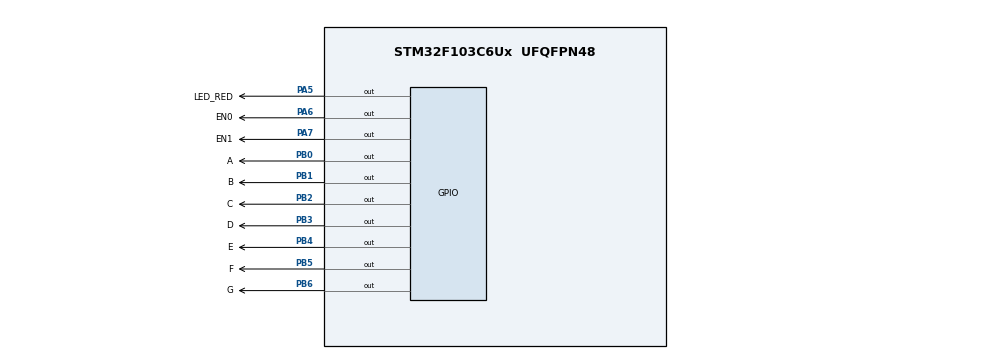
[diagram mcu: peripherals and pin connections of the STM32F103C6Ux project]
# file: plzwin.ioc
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Mcu.Family=STM32F1
Mcu.Name=STM32F103C6Ux
Mcu.Package=UFQFPN48
NVIC.PriorityGroup=NVIC_PRIORITYGROUP_4
NVIC.TIM2_IRQn=true\:0\:0\:false\:false\:true\:true\:true
PA5.GPIO_Label=LED_RED
PA5.Signal=GPIO_Output
PA6.GPIO_Label=EN0
PA6.Signal=GPIO_Output
PA7.GPIO_Label=EN1
PA7.Signal=GPIO_Output
PB0.GPIO_Label=A
PB0.Signal=GPIO_Output
PB1.GPIO_Label=B
PB1.Signal=GPIO_Output
PB2.GPIO_Label=C
PB2.Signal=GPIO_Output
PB3.GPIO_Label=D
PB3.Signal=GPIO_Output
PB4.GPIO_Label=E
PB4.Signal=GPIO_Output
PB5.GPIO_Label=F
PB5.Signal=GPIO_Output
PB6.GPIO_Label=G
PB6.Signal=GPIO_Output
ProjectManager.HeapSize=0x200
ProjectManager.StackSize=0x400
ProjectManager.TargetToolchain=STM32CubeIDE
RCC.APB1Freq_Value=8000000
RCC.APB2Freq_Value=8000000
TIM2.Period=9
TIM2.Prescaler=7999
VP_SYS_VS_ND.Mode=No_Debug
VP_TIM2_VS_ClockSourceINT.Mode=Internal
board=custom

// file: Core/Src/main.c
/* USER CODE BEGIN Header */
/**
  ******************************************************************************
  * @file           : main.c
  * @brief          : Main program body
  ******************************************************************************
  * @attention
  *
  * <h2><center>&copy; Copyright (c) 2022 STMicroelectronics.
  * All rights reserved.</center></h2>
  *
  * This software component is licensed by ST under BSD 3-Clause license,
  * the "License"; You may not use this file except in compliance with the
  * License. You may obtain a copy of the License at:
  *                        opensource.org/licenses/BSD-3-Clause
  *
  ******************************************************************************
  */
/* USER CODE END Header */
#include "main.h"

/* USER CODE BEGIN Includes */
#include "lab_2.h"
/* USER CODE END Includes */

TIM_HandleTypeDef htim2;

void SystemClock_Config(void);
static void MX_GPIO_Init(void);
static void MX_TIM2_Init(void);

int main(void)
{

  /* MCU Configuration--------------------------------------------------------*/

  /* Reset of all peripherals, Initializes the Flash interface and the Systick. */
  HAL_Init();

  /* Configure the system clock */
  SystemClock_Config();

  /* Initialize all configured peripherals */
  MX_GPIO_Init();
  MX_TIM2_Init();
  /* USER CODE BEGIN 2 */
HAL_TIM_Base_Start_IT(&htim2);
  /* USER CODE END 2 */

  /* Infinite loop */
  /* USER CODE BEGIN WHILE */
void display7SEG(int num){
if (num == 0)
	  {
		  HAL_GPIO_WritePin(GPIOB, A_Pin|B_Pin|C_Pin|D_Pin|E_Pin|F_Pin, GPIO_PIN_RESET);
		  HAL_GPIO_WritePin(GPIOB, G_Pin, GPIO_PIN_SET);
	  }
	  else if (num == 1)
	  {
		  HAL_GPIO_WritePin(GPIOB, B_Pin|C_Pin, GPIO_PIN_RESET);
		  HAL_GPIO_WritePin(GPIOB, A_Pin|D_Pin |E_Pin|F_Pin|G_Pin, GPIO_PIN_SET);
	  }
	  else if (num == 2)
	  {
		  HAL_GPIO_WritePin(GPIOB, A_Pin|B_Pin|D_Pin|E_Pin|G_Pin, GPIO_PIN_RESET);
		  		  HAL_GPIO_WritePin(GPIOB, C_Pin|F_Pin, GPIO_PIN_SET);
	  }
	  else if (num == 3)
	  {
		  HAL_GPIO_WritePin(GPIOB, A_Pin|B_Pin|C_Pin|D_Pin|G_Pin, GPIO_PIN_RESET);
		  		  HAL_GPIO_WritePin(GPIOB, E_Pin|F_Pin, GPIO_PIN_SET);
	  }
	  else if (num == 4)
	  {
		  HAL_GPIO_WritePin(GPIOB, B_Pin|C_Pin|F_Pin|G_Pin, GPIO_PIN_RESET);
		  HAL_GPIO_WritePin(GPIOB, E_Pin|A_Pin|D_Pin, GPIO_PIN_SET);
	  }
	  else if (num == 5)
	  {
		  HAL_GPIO_WritePin(GPIOB, A_Pin|C_Pin|F_Pin|D_Pin|G_Pin, GPIO_PIN_RESET);
		  		  HAL_GPIO_WritePin(GPIOB, E_Pin|B_Pin, GPIO_PIN_SET);
	  }
	  else if (num == 6)
	  {
		  HAL_GPIO_WritePin(GPIOB, A_Pin|C_Pin|F_Pin|E_Pin|D_Pin|G_Pin, GPIO_PIN_RESET);
		  		  		  HAL_GPIO_WritePin(GPIOB, B_Pin, GPIO_PIN_SET);
	  }
	  else if (num == 7)
	  {
		  HAL_GPIO_WritePin(GPIOB, A_Pin|B_Pin|C_Pin, GPIO_PIN_RESET);
		  		  HAL_GPIO_WritePin(GPIOB, D_Pin|E_Pin|F_Pin|G_Pin, GPIO_PIN_SET);
	  }
	  else if (num == 8)
	  {
		  HAL_GPIO_WritePin(GPIOB, A_Pin|B_Pin|C_Pin|D_Pin|E_Pin|F_Pin|G_Pin, GPIO_PIN_RESET);
	  }
	  else if (num == 9)
	  {
		  HAL_GPIO_WritePin(GPIOB, A_Pin|B_Pin|C_Pin|D_Pin
		                            |F_Pin|G_Pin, GPIO_PIN_RESET);
		  HAL_GPIO_WritePin(GPIOB,
		                            E_Pin, GPIO_PIN_SET);
	  }
}

Settimer1(50);
int num = 2 ;
HAL_GPIO_WritePin(EN0_GPIO_Port,EN0_Pin,GPIO_PIN_RESET);
HAL_GPIO_WritePin(EN1_GPIO_Port,EN1_Pin,GPIO_PIN_SET);
  while (1)
  {
    /* USER CODE END WHILE */
if (Timer1_flag == 1){
	Settimer1(50);
	if (num == 1 ) {display7SEG(1);num = num +1;}
	else if (num == 2)
	{
		display7SEG(2);
		num = num -1;
	}
	HAL_GPIO_TogglePin(EN0_GPIO_Port, EN0_Pin);
	HAL_GPIO_TogglePin(EN1_GPIO_Port, EN1_Pin);

}
  }
}

void SystemClock_Config(void)
{
  RCC_OscInitTypeDef RCC_OscInitStruct = {0};
  RCC_ClkInitTypeDef RCC_ClkInitStruct = {0};

  /** Initializes the RCC Oscillators according to the specified parameters
  * in the RCC_OscInitTypeDef structure.
  */
  RCC_OscInitStruct.OscillatorType = RCC_OSCILLATORTYPE_HSI;
  RCC_OscInitStruct.HSIState = RCC_HSI_ON;
  RCC_OscInitStruct.HSICalibrationValue = RCC_HSICALIBRATION_DEFAULT;
  RCC_OscInitStruct.PLL.PLLState = RCC_PLL_NONE;
  if (HAL_RCC_OscConfig(&RCC_OscInitStruct) != HAL_OK)
  {
    Error_Handler();
  }
  /** Initializes the CPU, AHB and APB buses clocks
  */
  RCC_ClkInitStruct.ClockType = RCC_CLOCKTYPE_HCLK|RCC_CLOCKTYPE_SYSCLK
                              |RCC_CLOCKTYPE_PCLK1|RCC_CLOCKTYPE_PCLK2;
  RCC_ClkInitStruct.SYSCLKSource = RCC_SYSCLKSOURCE_HSI;
  RCC_ClkInitStruct.AHBCLKDivider = RCC_SYSCLK_DIV1;
  RCC_ClkInitStruct.APB1CLKDivider = RCC_HCLK_DIV1;
  RCC_ClkInitStruct.APB2CLKDivider = RCC_HCLK_DIV1;

  if (HAL_RCC_ClockConfig(&RCC_ClkInitStruct, FLASH_LATENCY_0) != HAL_OK)
  {
    Error_Handler();
  }
}

static void MX_TIM2_Init(void)
{

  TIM_ClockConfigTypeDef sClockSourceConfig = {0};
  TIM_MasterConfigTypeDef sMasterConfig = {0};

  htim2.Instance = TIM2;
  htim2.Init.Prescaler = 7999;
  htim2.Init.CounterMode = TIM_COUNTERMODE_UP;
  htim2.Init.Period = 9;
  htim2.Init.ClockDivision = TIM_CLOCKDIVISION_DIV1;
  htim2.Init.AutoReloadPreload = TIM_AUTORELOAD_PRELOAD_DISABLE;
  if (HAL_TIM_Base_Init(&htim2) != HAL_OK)
  {
    Error_Handler();
  }
  sClockSourceConfig.ClockSource = TIM_CLOCKSOURCE_INTERNAL;
  if (HAL_TIM_ConfigClockSource(&htim2, &sClockSourceConfig) != HAL_OK)
  {
    Error_Handler();
  }
  sMasterConfig.MasterOutputTrigger = TIM_TRGO_RESET;
  sMasterConfig.MasterSlaveMode = TIM_MASTERSLAVEMODE_DISABLE;
  if (HAL_TIMEx_MasterConfigSynchronization(&htim2, &sMasterConfig) != HAL_OK)
  {
    Error_Handler();
  }

}

static void MX_GPIO_Init(void)
{
  GPIO_InitTypeDef GPIO_InitStruct = {0};

  /* GPIO Ports Clock Enable */
  __HAL_RCC_GPIOA_CLK_ENABLE();
  __HAL_RCC_GPIOB_CLK_ENABLE();

  /*Configure GPIO pin Output Level */
  HAL_GPIO_WritePin(GPIOA, LED_RED_Pin|EN0_Pin|EN1_Pin, GPIO_PIN_RESET);

  /*Configure GPIO pin Output Level */
  HAL_GPIO_WritePin(GPIOB, A_Pin|B_Pin|C_Pin|D_Pin
                          |E_Pin|F_Pin|G_Pin, GPIO_PIN_RESET);

  /*Configure GPIO pins : LED_RED_Pin EN0_Pin EN1_Pin */
  GPIO_InitStruct.Pin = LED_RED_Pin|EN0_Pin|EN1_Pin;
  GPIO_InitStruct.Mode = GPIO_MODE_OUTPUT_PP;
  GPIO_InitStruct.Pull = GPIO_NOPULL;
  GPIO_InitStruct.Speed = GPIO_SPEED_FREQ_LOW;
  HAL_GPIO_Init(GPIOA, &GPIO_InitStruct);

  /*Configure GPIO pins : A_Pin B_Pin C_Pin D_Pin
                           E_Pin F_Pin G_Pin */
  GPIO_InitStruct.Pin = A_Pin|B_Pin|C_Pin|D_Pin
                          |E_Pin|F_Pin|G_Pin;
  GPIO_InitStruct.Mode = GPIO_MODE_OUTPUT_PP;
  GPIO_InitStruct.Pull = GPIO_NOPULL;
  GPIO_InitStruct.Speed = GPIO_SPEED_FREQ_LOW;
  HAL_GPIO_Init(GPIOB, &GPIO_InitStruct);

}

/* USER CODE BEGIN 4 */
void HAL_TIM_PeriodElapsedCallback(TIM_HandleTypeDef *htim){
	TimerRun();
}
/* USER CODE END 4 */

void Error_Handler(void)
{
  __disable_irq();
  while (1)
  {
  }
}

/************************ (C) COPYRIGHT STMicroelectronics *****END OF FILE****/
